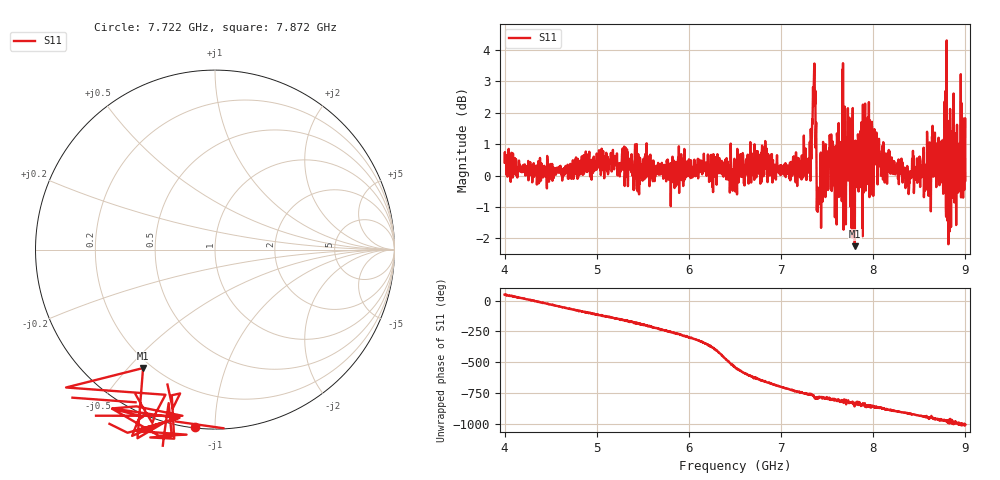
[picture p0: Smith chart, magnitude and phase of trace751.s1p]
! Created with skrf 1.8.0 (http://scikit-rf.org).
# Hz S RI R 50.0
!freq ReS11 ImS11
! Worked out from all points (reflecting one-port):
!   1601 points, 4 GHz to 9 GHz, reference 50 ohm
!   lowest |S11| = -2.2 dB at 7.8 GHz (marker M1), VSWR 7.78, Z = 8.42 - j27.5 ohm
!   phase of S11 starts at 48 deg and turns -1053 deg over the sweep
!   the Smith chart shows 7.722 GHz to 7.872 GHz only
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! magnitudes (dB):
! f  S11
! 4 GHz  0.4
! 4.625 GHz  -0.2
! 5.25 GHz  0.0
! 5.875 GHz  0.3
! 6.331 GHz  0.6
! 6.5 GHz  0.0
! 6.806 GHz  0.3
! 7.125 GHz  0.3
! 7.294 GHz  0.1
! 7.356 GHz  3.0
! 7.409 GHz  -0.8
! 7.481 GHz  -0.7
! 7.578 GHz  0.1
! 7.669 GHz  0.5
! 7.703 GHz  -1.6
! 7.734 GHz  1.5
! 7.75 GHz  -1.0
! 7.775 GHz  1.7
! 7.8 GHz  -2.2
! 7.909 GHz  1.8
! 7.928 GHz  1.4
! 7.981 GHz  0.2
! 8.375 GHz  0.2
! 8.738 GHz  -0.1
! 8.788 GHz  -1.0
! 8.841 GHz  1.4
! 8.972 GHz  0.9
! 9 GHz  -0.2
